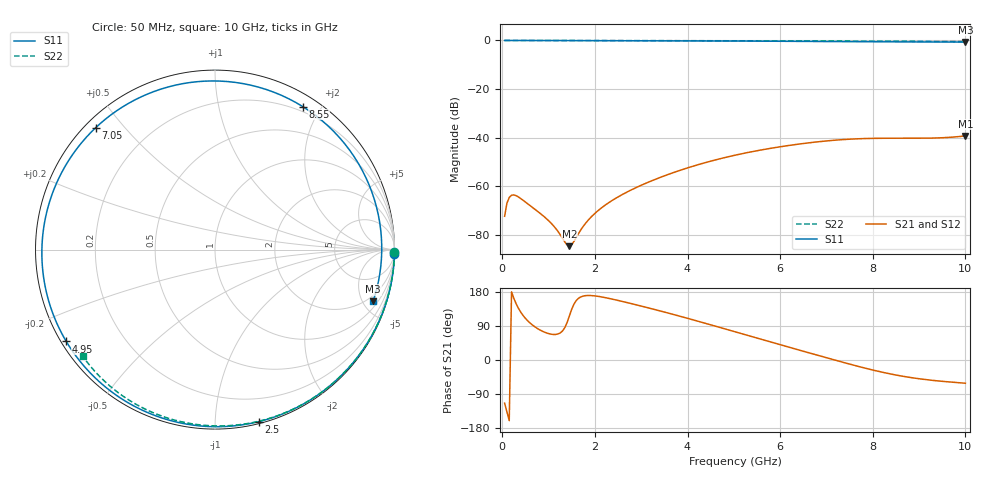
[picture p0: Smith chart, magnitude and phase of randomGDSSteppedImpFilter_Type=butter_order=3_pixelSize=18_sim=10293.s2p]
! freq	dB(S11)	phase(S11)	dB(S12)	phase(S12)
!  dB(S21)	phase(S21)	dB(S22)	phase(S22)
!S-par simulation data
#  GHz  S  DB  R 50
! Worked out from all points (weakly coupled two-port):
!   200 points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, 50 MHz to 10 GHz, reference 50 ohm
!   highest |S21| = -39.35 dB at 10 GHz (marker M1); lowest = -84.8 dB at 1.45 GHz (marker M2)
!   lowest |S11| = -0.7 dB at 10 GHz (marker M3), VSWR 26.26, Z = 72.4 - j296 ohm
!   |S11| at or under -10 dB: nowhere
!   |S22| runs from -0.5 to 0.0 dB; largest |S21 - S12| = 0
!   S11 on the Smith chart (normalised r, x): 50 MHz: 0, -74; 2.5 GHz: 0.01, -1.29; 4.95 GHz: 0.01, -0.28; 7.05 GHz: 0.03, +0.42; 8.55 GHz: 0.14, +1.78; 10 GHz: 1.45, -5.91
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0.05  -0.00 -1.6  -72.46 -113.9  -72.46 -113.9  -0.00 -0.8
0.1  -0.00 -3.1  -67.09 -137.5  -67.09 -137.5  -0.00 -1.6
0.15  -0.00 -4.7  -64.72 -159.9  -64.72 -159.9  -0.00 -2.5
0.25  -0.00 -7.8  -63.67 162.6  -63.67 162.6  -0.00 -4.1
0.9  -0.03 -27.8  -72.56 74.0  -72.56 74.0  -0.02 -14.6
1.25  -0.05 -38.4  -80.02 71.3  -80.02 71.3  -0.02 -20.2
1.45  -0.06 -44.5  -84.79 116.8  -84.79 116.8  -0.03 -23.4
1.65  -0.06 -50.5  -79.46 163.2  -79.46 163.2  -0.03 -26.6
1.75  -0.07 -53.5  -76.56 168.8  -76.56 168.8  -0.04 -28.2
2.5  -0.10 -75.7  -64.48 157.2  -64.48 157.2  -0.05 -39.9
3.4  -0.13 -101.9  -56.52 129.8  -56.52 129.8  -0.07 -53.5
4.15  -0.17 -124.0  -51.64 104.9  -51.64 104.9  -0.09 -64.6
4.95  -0.23 -148.3  -47.62 77.0  -47.62 77.0  -0.12 -75.9
5.05  -0.24 -151.5  -47.19 73.5  -47.19 73.5  -0.12 -77.3
5.9  -0.31 -179.9  -44.12 43.8  -44.12 43.8  -0.15 -89.0
6.7  -0.40 149.4  -42.01 16.2  -42.01 16.2  -0.19 -99.6
7.05  -0.44 134.4  -41.32 4.3  -41.32 4.3  -0.21 -104.1
7.75  -0.52 101.1  -40.48 -18.9  -40.48 -18.9  -0.26 -113.0
8.35  -0.57 69.4  -40.30 -36.0  -40.30 -36.0  -0.31 -120.5
8.55  -0.59 58.5  -40.31 -40.8  -40.31 -40.8  -0.33 -123.0
9.3  -0.62 17.4  -40.24 -53.9  -40.24 -53.9  -0.40 -132.3
10  -0.66 -18.2  -39.35 -61.3  -39.35 -61.3  -0.48 -141.0
